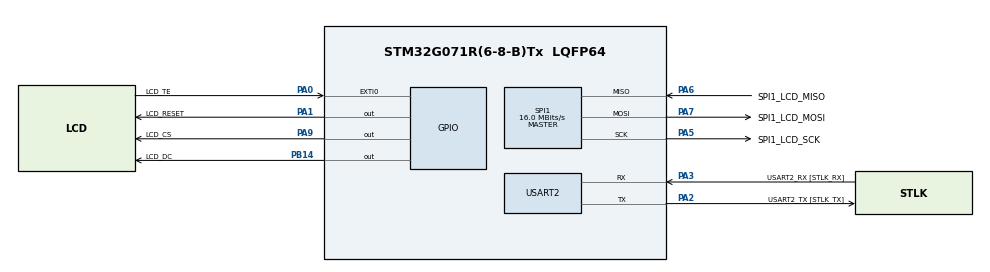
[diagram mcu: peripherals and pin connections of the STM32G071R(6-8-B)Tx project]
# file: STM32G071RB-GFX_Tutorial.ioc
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Dma.Request0=SPI1_RX
Dma.Request1=SPI1_TX
Dma.SPI1_RX.0.Direction=DMA_PERIPH_TO_MEMORY
Dma.SPI1_RX.0.EventEnable=DISABLE
Dma.SPI1_RX.0.Instance=DMA1_Channel1
Dma.SPI1_RX.0.MemDataAlignment=DMA_MDATAALIGN_HALFWORD
Dma.SPI1_RX.0.MemInc=DMA_MINC_ENABLE
Dma.SPI1_RX.0.Mode=DMA_NORMAL
Dma.SPI1_RX.0.PeriphDataAlignment=DMA_PDATAALIGN_HALFWORD
Dma.SPI1_RX.0.PeriphInc=DMA_PINC_DISABLE
Dma.SPI1_RX.0.Polarity=HAL_DMAMUX_REQ_GEN_RISING
Dma.SPI1_RX.0.Priority=DMA_PRIORITY_LOW
Dma.SPI1_RX.0.RequestNumber=1
Dma.SPI1_RX.0.SignalID=NONE
Dma.SPI1_RX.0.SyncEnable=DISABLE
Dma.SPI1_RX.0.SyncPolarity=HAL_DMAMUX_SYNC_NO_EVENT
Dma.SPI1_RX.0.SyncRequestNumber=1
Dma.SPI1_RX.0.SyncSignalID=NONE
Dma.SPI1_TX.1.Direction=DMA_MEMORY_TO_PERIPH
Dma.SPI1_TX.1.EventEnable=DISABLE
Dma.SPI1_TX.1.Instance=DMA1_Channel2
Dma.SPI1_TX.1.MemDataAlignment=DMA_MDATAALIGN_HALFWORD
Dma.SPI1_TX.1.MemInc=DMA_MINC_ENABLE
Dma.SPI1_TX.1.Mode=DMA_NORMAL
Dma.SPI1_TX.1.PeriphDataAlignment=DMA_PDATAALIGN_HALFWORD
Dma.SPI1_TX.1.PeriphInc=DMA_PINC_DISABLE
Dma.SPI1_TX.1.Polarity=HAL_DMAMUX_REQ_GEN_RISING
Dma.SPI1_TX.1.Priority=DMA_PRIORITY_HIGH
Dma.SPI1_TX.1.RequestNumber=1
Dma.SPI1_TX.1.SignalID=NONE
Dma.SPI1_TX.1.SyncEnable=DISABLE
Dma.SPI1_TX.1.SyncPolarity=HAL_DMAMUX_SYNC_NO_EVENT
Dma.SPI1_TX.1.SyncRequestNumber=1
Dma.SPI1_TX.1.SyncSignalID=NONE
Mcu.Family=STM32G0
Mcu.Name=STM32G071R(6-8-B)Tx
Mcu.Package=LQFP64
NVIC.DMA1_Channel1_IRQn=true\:0\:0\:false\:false\:true\:false\:true\:true
NVIC.DMA1_Channel2_3_IRQn=true\:0\:0\:false\:false\:true\:false\:true\:true
NVIC.EXTI0_1_IRQn=true\:0\:0\:false\:false\:true\:true\:true\:true
PA0.GPIO_Label=LCD_TE
PA0.Signal=GPXTI0
PA1.GPIO_Label=LCD_RESET
PA1.Signal=GPIO_Output
PA13.GPIO_Label=TMS
PA13.Mode=Serial_Wire
PA13.Signal=SYS_SWDIO
PA14-BOOT0.GPIO_Label=TCK
PA14-BOOT0.Mode=Serial_Wire
PA14-BOOT0.Signal=SYS_SWCLK
PA2.GPIO_Label=USART2_TX [STLK_TX]
PA2.GPIO_PuPd=GPIO_PULLUP
PA2.Mode=Asynchronous
PA2.Signal=USART2_TX
PA3.GPIO_Label=USART2_RX [STLK_RX]
PA3.GPIO_PuPd=GPIO_PULLUP
PA3.Mode=Asynchronous
PA3.Signal=USART2_RX
PA5.GPIO_Label=SPI1_LCD_SCK
PA5.GPIO_Speed=GPIO_SPEED_FREQ_VERY_HIGH
PA5.Mode=Full_Duplex_Master
PA5.Signal=SPI1_SCK
PA6.GPIO_Label=SPI1_LCD_MISO
PA6.GPIO_Speed=GPIO_SPEED_FREQ_VERY_HIGH
PA6.Mode=Full_Duplex_Master
PA6.Signal=SPI1_MISO
PA7.GPIO_Label=SPI1_LCD_MOSI
PA7.GPIO_Speed=GPIO_SPEED_FREQ_VERY_HIGH
PA7.Mode=Full_Duplex_Master
PA7.Signal=SPI1_MOSI
PA9.GPIO_Label=LCD_CS
PA9.Signal=GPIO_Output
PB14.GPIO_Label=LCD_DC
PB14.Signal=GPIO_Output
PC13.Mode=SYS_WakeUp1
PC13.Signal=SYS_WKUP2
PC14-OSC32_IN\ (PC14).Mode=LSE-External-Oscillator
PC14-OSC32_IN\ (PC14).Signal=RCC_OSC32_IN
PC15-OSC32_OUT\ (PC15).Mode=LSE-External-Oscillator
PC15-OSC32_OUT\ (PC15).Signal=RCC_OSC32_OUT
PF0-OSC_IN\ (PF0).GPIO_Label=MCO
PF0-OSC_IN\ (PF0).Mode=HSE-External-Clock-Source
PF0-OSC_IN\ (PF0).Signal=RCC_OSC_IN
ProjectManager.HeapSize=0x200
ProjectManager.StackSize=0x400
ProjectManager.TargetToolchain=CMake
RCC.ADCFreq_Value=64000000
RCC.AHBFreq_Value=64000000
RCC.CortexFreq_Value=64000000
RCC.EXTERNAL_CLOCK_VALUE=12288000
RCC.HCLKFreq_Value=64000000
RCC.HSE_VALUE=8000000
RCC.HSI_VALUE=16000000
RCC.SYSCLKFreq_VALUE=64000000
RCC.SYSCLKSource=RCC_SYSCLKSOURCE_PLLCLK
RCC.VCOOutputFreq_Value=128000000
SPI1.BaudRatePrescaler=SPI_BAUDRATEPRESCALER_4
SPI1.CalculateBaudRate=16.0 MBits/s
SPI1.DataSize=SPI_DATASIZE_8BIT
SPI1.Direction=SPI_DIRECTION_2LINES
SPI1.Mode=SPI_MODE_MASTER
SPI1.VirtualType=VM_MASTER
TIM2.Period=65535
TIM2.Prescaler=2520
TIM2.TIM_MasterOutputTrigger=TIM_TRGO_ENABLE
USART2.VirtualMode-Asynchronous=VM_ASYNC
VP_TIM2_VS_ClockSourceINT.Mode=Internal
board=NUCLEO-G071RB

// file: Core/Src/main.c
/* USER CODE BEGIN Header */
/**
  ******************************************************************************
  * @file           : main.c
  * @brief          : Main program body
  ******************************************************************************
  * @attention
  *
  * Copyright (c) 2024 STMicroelectronics.
  * All rights reserved.
  *
  * This software is licensed under terms that can be found in the LICENSE file
  * in the root directory of this software component.
  * If no LICENSE file comes with this software, it is provided AS-IS.
  *
  ******************************************************************************
  */
/* USER CODE END Header */
#include "main.h"
#include "dma.h"
#include "spi.h"
#include "tim.h"
#include "usart.h"
#include "gpio.h"

/* USER CODE BEGIN Includes */
#include "ILI9341_Driver.h"
/* USER CODE END Includes */

/* USER CODE BEGIN PD */

#define UNUSED(x) (void)(x)
#define DEBUG_MODE 1
#if defined(DEBUG_MODE) && DEBUG_MODE == 1
#define log(...) printf(__VA_ARGS__)
#else
#define log(...)
#endif
/* USER CODE END PD */

void SystemClock_Config(void);

/* USER CODE BEGIN 0 */
int _write(int file, char *data, int len)
{
    UNUSED(file);
    // Transmit data using UART2
    for (int i = 0; i < len; i++)
    {
        // Send the character
        USART2->TDR = (uint16_t)data[i];
        // Wait for the transmit buffer to be empty
        while (!(USART2->ISR & USART_ISR_TC));
    }

    return len;
}
void fill_rectangle(uint16_t x, uint16_t y, uint16_t width, uint16_t height, uint16_t color)
{
    for (uint16_t i = x; i < x + width; i++)
    {
        for (uint16_t j = y; j < y + height; j++)
        {
            ILI9341_WritePixel(i, j, color);

        }
    }
}

/* USER CODE END 0 */

int main(void)
{

  /* MCU Configuration--------------------------------------------------------*/

  /* Reset of all peripherals, Initializes the Flash interface and the Systick. */
    HAL_Init();

  /* Configure the system clock */
  SystemClock_Config();

  /* Initialize all configured peripherals */
  MX_GPIO_Init();
  MX_DMA_Init();
  MX_USART2_UART_Init();
  MX_SPI1_Init();
  MX_TIM2_Init();
  /* USER CODE BEGIN 2 */
  log("Cre peripheral init %d\n", LL_TIM_GetCounter(TIM2));
  // start tim2 ; haS vSYNCH SIGNAL
  LL_TIM_EnableCounter(TIM2);
  // Initialize the ili9341 LCD
  ILI9341_Init();
  /* USER CODE END 2 */

  /* Infinite loop */
  /* USER CODE BEGIN WHILE */
  while (1)
  {

    // get systick count
    log("Tick Count: %d\n", LL_TIM_GetCounter(TIM2));
    LL_mDelay(1000);

    /* USER CODE END WHILE */

  }
}

void SystemClock_Config(void)
{
  LL_FLASH_SetLatency(LL_FLASH_LATENCY_2);
  while(LL_FLASH_GetLatency() != LL_FLASH_LATENCY_2)
  {
  }

  /* HSI configuration and activation */
  LL_RCC_HSI_Enable();
  while(LL_RCC_HSI_IsReady() != 1)
  {
  }

  /* Main PLL configuration and activation */
  LL_RCC_PLL_ConfigDomain_SYS(LL_RCC_PLLSOURCE_HSI, LL_RCC_PLLM_DIV_1, 8, LL_RCC_PLLR_DIV_2);
  LL_RCC_PLL_Enable();
  LL_RCC_PLL_EnableDomain_SYS();
  while(LL_RCC_PLL_IsReady() != 1)
  {
  }

  /* Set AHB prescaler*/
  LL_RCC_SetAHBPrescaler(LL_RCC_SYSCLK_DIV_1);

  /* Sysclk activation on the main PLL */
  LL_RCC_SetSysClkSource(LL_RCC_SYS_CLKSOURCE_PLL);
  while(LL_RCC_GetSysClkSource() != LL_RCC_SYS_CLKSOURCE_STATUS_PLL)
  {
  }

  /* Set APB1 prescaler*/
  LL_RCC_SetAPB1Prescaler(LL_RCC_APB1_DIV_1);
  /* Update CMSIS variable (which can be updated also through SystemCoreClockUpdate function) */
  LL_SetSystemCoreClock(64000000);

   /* Update the time base */
  if (HAL_InitTick (TICK_INT_PRIORITY) != HAL_OK)
  {
    Error_Handler();
  }
}

void Error_Handler(void)
{
  __disable_irq();
  while (1)
  {
  }
}
